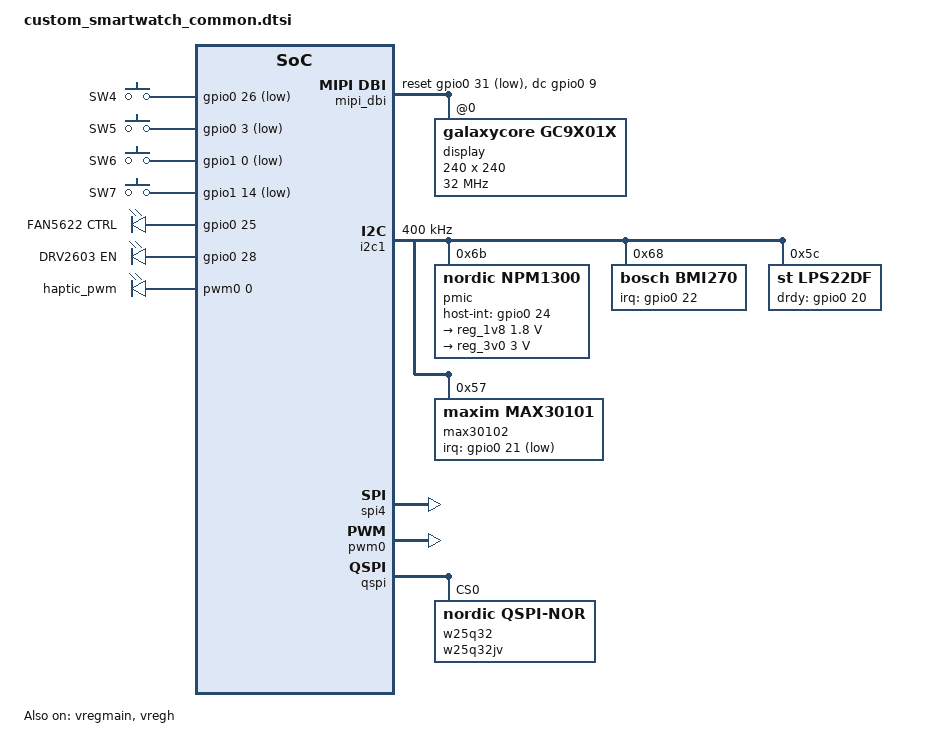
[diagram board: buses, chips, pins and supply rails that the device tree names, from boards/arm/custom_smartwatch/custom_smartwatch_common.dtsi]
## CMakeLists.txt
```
cmake_minimum_required(VERSION 3.20.0)
find_package(Zephyr REQUIRED HINTS $ENV{ZEPHYR_BASE})

project(Software)

target_sources(app PRIVATE
  src/activity.c
  src/app_settings.c
  src/backlight.c
  src/ble_media.c
  src/buttons.c
  src/display_ui.c
  src/heart_rate.c
  src/haptics.c
  src/main.c
  src/power.c
  src/power_manager.c
)
```

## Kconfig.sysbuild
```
# SPDX-License-Identifier: Apache-2.0

config SOC_NRF5340_CPUAPP
	bool
	default y if BOARD_CUSTOM_SMARTWATCH_NRF5340_CPUAPP

config PARTITION_MANAGER
	default n if !BOARD_IS_NON_SECURE

config NRF_DEFAULT_IPC_RADIO
	default y

config NETCORE_IPC_RADIO_BT_HCI_IPC
	default y

source "share/sysbuild/Kconfig"
```

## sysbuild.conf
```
SB_CONFIG_PARTITION_MANAGER=n
SB_CONFIG_NETCORE_IPC_RADIO=y
SB_CONFIG_NETCORE_IPC_RADIO_BT_HCI_IPC=y
```

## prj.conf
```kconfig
CONFIG_LOG=y
CONFIG_USE_SEGGER_RTT=y
CONFIG_CONSOLE=y
CONFIG_RTT_CONSOLE=y
CONFIG_LOG_BACKEND_RTT=y
CONFIG_LOG_BACKEND_RTT_MODE_DROP=y
CONFIG_LOG_BACKEND_RTT_MESSAGE_SIZE=256
CONFIG_LOG_BACKEND_UART=n
CONFIG_UART_CONSOLE=n
CONFIG_FLASH=y
CONFIG_FLASH_MAP=y
CONFIG_NORDIC_QSPI_NOR=y
CONFIG_GPIO=y
CONFIG_INPUT=y
CONFIG_INPUT_GPIO_KEYS=y
CONFIG_I2C=y
CONFIG_SPI=y
CONFIG_PWM=y
CONFIG_SENSOR=y
CONFIG_BMI270=y
CONFIG_LPS2XDF=y
CONFIG_MAX30101=y
CONFIG_MAX30101_TRIGGER_GLOBAL_THREAD=y
CONFIG_MFD=y
CONFIG_MFD_NPM13XX=y
CONFIG_NPM13XX_CHARGER=y
CONFIG_REGULATOR=y
CONFIG_DISPLAY=y
CONFIG_MIPI_DBI=y
CONFIG_MIPI_DBI_SPI=y
CONFIG_GC9X01X=y

CONFIG_NVS=y
CONFIG_SETTINGS=y
CONFIG_SETTINGS_NVS=y

CONFIG_BT=y
CONFIG_BT_PERIPHERAL=y
CONFIG_BT_DEVICE_NAME="Smart Watch"
CONFIG_BT_DEVICE_APPEARANCE=960
CONFIG_BT_MAX_CONN=1
CONFIG_BT_MAX_PAIRED=4
CONFIG_BT_SMP=y
CONFIG_BT_SETTINGS=y
CONFIG_BT_PRIVACY=y
CONFIG_BT_AUTO_PHY_UPDATE=n
CONFIG_BT_GATT_AUTO_SEC_REQ=n
CONFIG_BT_ATT_TX_COUNT=5
CONFIG_BT_TX_PROCESSOR_STACK_SIZE=1024
CONFIG_BT_RX_STACK_SIZE=3072
CONFIG_BT_CONN_CTX=y

CONFIG_BT_BAS=y
CONFIG_BT_DIS=y
CONFIG_BT_DIS_MANUF_NAME=y
CONFIG_BT_DIS_MANUF_NAME_STR="Custom"
CONFIG_BT_DIS_PNP=y
CONFIG_BT_DIS_PNP_VID_SRC=2
CONFIG_BT_DIS_PNP_VID=0x1915
CONFIG_BT_DIS_PNP_PID=0x0001
CONFIG_BT_DIS_PNP_VER=0x0100

CONFIG_BT_HIDS=y
CONFIG_BT_HIDS_INPUT_REP_MAX=1
CONFIG_BT_HIDS_OUTPUT_REP_MAX=0
CONFIG_BT_HIDS_FEATURE_REP_MAX=0
CONFIG_BT_HIDS_ATTR_MAX=24
CONFIG_BT_HIDS_MAX_CLIENT_COUNT=1
CONFIG_BT_HIDS_DEFAULT_PERM_RW_ENCRYPT=y
CONFIG_BT_GATT_UUID16_POOL_SIZE=40
CONFIG_BT_GATT_CHRC_POOL_SIZE=20

CONFIG_MAIN_STACK_SIZE=2048
CONFIG_SYSTEM_WORKQUEUE_STACK_SIZE=2048
CONFIG_USE_DT_CODE_PARTITION=y
```

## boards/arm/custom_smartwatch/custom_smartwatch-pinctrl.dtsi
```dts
/*
 * SPDX-License-Identifier: Apache-2.0
 */

&pinctrl {
	i2c1_default: i2c1_default {
		group1 {
			psels = <NRF_PSEL(TWIM_SCL, 1, 3)>,
				<NRF_PSEL(TWIM_SDA, 1, 2)>;
		};
	};

	i2c1_sleep: i2c1_sleep {
		group1 {
			psels = <NRF_PSEL(TWIM_SCL, 1, 3)>,
				<NRF_PSEL(TWIM_SDA, 1, 2)>;
			low-power-enable;
		};
	};

	spi4_default: spi4_default {
		group1 {
			psels = <NRF_PSEL(SPIM_SCK, 0, 11)>,
				<NRF_PSEL(SPIM_MOSI, 0, 10)>;
		};
	};

	spi4_sleep: spi4_sleep {
		group1 {
			psels = <NRF_PSEL(SPIM_SCK, 0, 11)>,
				<NRF_PSEL(SPIM_MOSI, 0, 10)>;
			low-power-enable;
		};
	};

	pwm0_default: pwm0_default {
		group1 {
			psels = <NRF_PSEL(PWM_OUT0, 0, 29)>;
		};
	};

	pwm0_sleep: pwm0_sleep {
		group1 {
			psels = <NRF_PSEL(PWM_OUT0, 0, 29)>;
			low-power-enable;
		};
	};

	qspi_default: qspi_default {
		group1 {
			psels = <NRF_PSEL(QSPI_SCK, 0, 17)>,
				<NRF_PSEL(QSPI_IO0, 0, 13)>,
				<NRF_PSEL(QSPI_IO1, 0, 14)>,
				<NRF_PSEL(QSPI_IO2, 0, 15)>,
				<NRF_PSEL(QSPI_IO3, 0, 16)>,
				<NRF_PSEL(QSPI_CSN, 0, 18)>;
			nordic,drive-mode = <NRF_DRIVE_H0H1>;
		};
	};

	qspi_sleep: qspi_sleep {
		group1 {
			psels = <NRF_PSEL(QSPI_SCK, 0, 17)>,
				<NRF_PSEL(QSPI_IO0, 0, 13)>,
				<NRF_PSEL(QSPI_IO1, 0, 14)>,
				<NRF_PSEL(QSPI_IO2, 0, 15)>,
				<NRF_PSEL(QSPI_IO3, 0, 16)>;
			low-power-enable;
		};

		group2 {
			psels = <NRF_PSEL(QSPI_CSN, 0, 18)>;
			low-power-enable;
			bias-pull-up;
		};
	};
};
```

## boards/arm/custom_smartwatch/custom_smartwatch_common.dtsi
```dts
/*
 * SPDX-License-Identifier: Apache-2.0
 */

#include <zephyr/dt-bindings/gpio/gpio.h>
#include <zephyr/dt-bindings/i2c/i2c.h>
#include <zephyr/dt-bindings/input/input-event-codes.h>
#include <zephyr/dt-bindings/display/panel.h>
#include <zephyr/dt-bindings/pwm/pwm.h>

#include "custom_smartwatch-pinctrl.dtsi"

/ {
	chosen {
		zephyr,bt-hci = &bt_hci_ipc0;
		zephyr,display = &display;
	};

	buttons {
		compatible = "gpio-keys";

		button0: button_0 {
			gpios = <&gpio0 26 (GPIO_PULL_UP | GPIO_ACTIVE_LOW)>;
			label = "SW4";
			zephyr,code = <INPUT_KEY_0>;
		};

		button1: button_1 {
			gpios = <&gpio0 3 (GPIO_PULL_UP | GPIO_ACTIVE_LOW)>;
			label = "SW5";
			zephyr,code = <INPUT_KEY_1>;
		};

		button2: button_2 {
			gpios = <&gpio1 0 (GPIO_PULL_UP | GPIO_ACTIVE_LOW)>;
			label = "SW6";
			zephyr,code = <INPUT_KEY_2>;
		};

		button3: button_3 {
			gpios = <&gpio1 14 (GPIO_PULL_UP | GPIO_ACTIVE_LOW)>;
			label = "SW7";
			zephyr,code = <INPUT_KEY_3>;
		};
	};

	backlight {
		compatible = "gpio-leds";

		display_backlight: display_backlight {
			gpios = <&gpio0 25 GPIO_ACTIVE_HIGH>;
			label = "FAN5622 CTRL";
		};
	};

	haptic_enable {
		compatible = "gpio-leds";

		haptic_en: haptic_en {
			gpios = <&gpio0 28 GPIO_ACTIVE_HIGH>;
			label = "DRV2603 EN";
		};
	};

	haptic {
		compatible = "pwm-leds";

		haptic_pwm: haptic_pwm {
			pwms = <&pwm0 0 PWM_MSEC(1) PWM_POLARITY_NORMAL>;
		};
	};

	aliases {
		i2c-0 = &i2c1;
		display-backlight = &display_backlight;
		haptic-en = &haptic_en;
		pwm-led0 = &haptic_pwm;
		sw0 = &button0;
		sw1 = &button1;
		sw2 = &button2;
		sw3 = &button3;
	};
};

&vregmain {
	status = "okay";
	regulator-initial-mode = <NRF5X_REG_MODE_DCDC>;
};

&vregradio {
	regulator-initial-mode = <NRF5X_REG_MODE_DCDC>;
};

&vregh {
	status = "okay";
};

&gpio0 {
	status = "okay";
};

&gpio1 {
	status = "okay";
};

&gpiote {
	status = "okay";
};

&i2c1 {
	compatible = "nordic,nrf-twim";
	status = "okay";
	clock-frequency = <I2C_BITRATE_FAST>;
	pinctrl-0 = <&i2c1_default>;
	pinctrl-1 = <&i2c1_sleep>;
	pinctrl-names = "default", "sleep";

	pmic: npm1300@6b {
		compatible = "nordic,npm1300";
		reg = <0x6b>;
		host-int-gpios = <&gpio0 24 GPIO_ACTIVE_HIGH>;
		pmic-int-pin = <1>;
		status = "okay";

		regulators {
			compatible = "nordic,npm1300-regulator";
			status = "okay";

			reg_1v8: BUCK1 {
				regulator-min-microvolt = <1800000>;
				regulator-max-microvolt = <1800000>;
			};

			reg_3v0: BUCK2 {
				regulator-min-microvolt = <3000000>;
				regulator-max-microvolt = <3000000>;
			};
		};

		pmic_charger: charger {
			compatible = "nordic,npm1300-charger";
			status = "okay";
			term-microvolt = <4200000>;
			current-microamp = <200000>;
			dischg-limit-microamp = <1000000>;
			vbus-limit-microamp = <500000>;
			thermistor-ohms = <0>;
			thermistor-beta = <0>;
			charging-enable;
		};
	};

	bmi270: bmi270@68 {
		compatible = "bosch,bmi270";
		reg = <0x68>;
		irq-gpios = <&gpio0 22 GPIO_ACTIVE_HIGH>;
		status = "okay";
	};

	lps22df: lps22df@5c {
		compatible = "st,lps22df";
		reg = <0x5c>;
		drdy-gpios = <&gpio0 20 GPIO_ACTIVE_HIGH>;
		status = "okay";
	};

	max30102: max30102@57 {
		compatible = "maxim,max30101";
		reg = <0x57>;
		irq-gpios = <&gpio0 21 (GPIO_PULL_UP | GPIO_ACTIVE_LOW)>;
		acq-mode = "spo2";
		smp-ave = <4>;
		adc-rge = <8192>;
		smp-sr = <50>;
		led-pw = <411>;
		led-pa = [24 24 00];
		fifo-rollover-en;
		status = "okay";
	};
};

&spi4 {
	compatible = "nordic,nrf-spim";
	status = "okay";
	cs-gpios = <&gpio0 12 GPIO_ACTIVE_LOW>;
	pinctrl-0 = <&spi4_default>;
	pinctrl-1 = <&spi4_sleep>;
	pinctrl-names = "default", "sleep";
};

/ {
	mipi_dbi {
		compatible = "zephyr,mipi-dbi-spi";
		status = "okay";
		spi-dev = <&spi4>;
		dc-gpios = <&gpio0 9 GPIO_ACTIVE_HIGH>;
		reset-gpios = <&gpio0 31 GPIO_ACTIVE_LOW>;
		write-only;
		#address-cells = <1>;
		#size-cells = <0>;

		display: gc9a01@0 {
			compatible = "galaxycore,gc9x01x";
			reg = <0>;
			mipi-max-frequency = <DT_FREQ_M(32)>;
			pixel-format = <PANEL_PIXEL_FORMAT_RGB_565>;
			width = <240>;
			height = <240>;
			display-inversion;
			status = "okay";
		};
	};
};

&pwm0 {
	status = "okay";
	pinctrl-0 = <&pwm0_default>;
	pinctrl-1 = <&pwm0_sleep>;
	pinctrl-names = "default", "sleep";
};

&qspi {
	status = "okay";
	pinctrl-0 = <&qspi_default>;
	pinctrl-1 = <&qspi_sleep>;
	pinctrl-names = "default", "sleep";

	w25q32: w25q32jv@0 {
		compatible = "nordic,qspi-nor";
		reg = <0>;
		writeoc = "pp4io";
		readoc = "read4io";
		sck-frequency = <8000000>;
		jedec-id = [ef 40 16];
		size = <33554432>;
		has-dpd;
		t-enter-dpd = <3000>;
		t-exit-dpd = <30000>;
		status = "okay";
	};
};
```

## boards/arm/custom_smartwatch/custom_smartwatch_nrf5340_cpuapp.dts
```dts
/*
 * SPDX-License-Identifier: Apache-2.0
 */

/dts-v1/;

#include <nordic/nrf5340_cpuapp_qkaa.dtsi>
#include "custom_smartwatch_common.dtsi"

/ {
	compatible = "custom,custom-smartwatch-nrf5340-cpuapp";
	model = "Custom Smartwatch NORA-B106 nRF5340 Application MCU";

	chosen {
		zephyr,sram = &sram0_image;
		zephyr,flash = &flash0;
		zephyr,code-partition = &slot0_partition;
		zephyr,sram-secure-partition = &sram0_s;
		zephyr,sram-non-secure-partition = &sram0_ns;
	};
};

/* Include default memory partition configuration file. */
#include <nordic/nrf5340_cpuapp_partition.dtsi>
```

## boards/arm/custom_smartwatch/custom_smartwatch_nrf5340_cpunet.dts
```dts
/*
 * SPDX-License-Identifier: Apache-2.0
 */

/dts-v1/;

#include <nordic/nrf5340_cpunet_qkaa.dtsi>

/ {
	compatible = "custom,custom-smartwatch-nrf5340-cpunet";
	model = "Custom Smartwatch NORA-B106 nRF5340 Network MCU";

	chosen {
		zephyr,bt-hci-ipc = &ipc0;
		zephyr,sram = &sram1;
		zephyr,flash = &flash1;
		zephyr,code-partition = &slot0_partition;
	};

	aliases {
		watchdog0 = &wdt;
	};
};

&gpiote {
	status = "okay";
};

&gpio0 {
	status = "okay";
};

&gpio1 {
	status = "okay";
};

&flash1 {
	partitions {
		compatible = "fixed-partitions";
		#address-cells = <1>;
		#size-cells = <1>;

		boot_partition: partition@0 {
			label = "mcuboot";
			reg = <0x00000000 0xc000>;
		};

		slot0_partition: partition@c000 {
			label = "image-0";
			reg = <0x0000c000 0x17000>;
		};

		slot1_partition: partition@23000 {
			label = "image-1";
			reg = <0x00023000 0x17000>;
		};

		storage_partition: partition@3a000 {
			label = "storage";
			reg = <0x0003a000 0x6000>;
		};
	};
};

#include <nordic/nrf5340_shared_sram_partition.dtsi>
```

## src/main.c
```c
#include <zephyr/kernel.h>
#include <zephyr/device.h>
#include <zephyr/logging/log.h>

#include "activity.h"
#include "app_settings.h"
#include "backlight.h"
#include "ble_media.h"
#include "buttons.h"
#include "display_ui.h"
#include "heart_rate.h"
#include "haptics.h"
#include "power.h"
#include "power_manager.h"

LOG_MODULE_REGISTER(smart_watch, LOG_LEVEL_INF);

#define LOG_DEVICE_READY(node_id, name)                                            \
	do {                                                                       \
		const struct device *const dev = DEVICE_DT_GET(node_id);           \
		LOG_INF("%s: %s", name, device_is_ready(dev) ? "ready" : "not ready"); \
	} while (false)

int main(void)
{
	int err;

	LOG_INF("Custom smartwatch firmware starting");

	LOG_DEVICE_READY(DT_NODELABEL(pmic), "nPM1300");
	LOG_DEVICE_READY(DT_NODELABEL(pmic_charger), "nPM1300 charger");
	LOG_DEVICE_READY(DT_NODELABEL(bmi270), "BMI270");
	LOG_DEVICE_READY(DT_NODELABEL(max30102), "MAX30102");
	LOG_DEVICE_READY(DT_NODELABEL(lps22df), "LPS22DF");
	LOG_DEVICE_READY(DT_NODELABEL(display), "GC9A01");
	LOG_DEVICE_READY(DT_NODELABEL(w25q32), "W25Q32");

	err = backlight_init(false);
	if (err != 0) {
		LOG_ERR("Backlight init failed (%d)", err);
	}

	err = haptics_init();
	if (err != 0) {
		LOG_ERR("Haptics init failed (%d)", err);
	}

	err = app_settings_init();
	if (err != 0) {
		LOG_ERR("User settings init failed (%d)", err);
	}

	err = ble_media_init();
	if (err != 0) {
		LOG_ERR("BLE media init failed (%d)", err);
	}

	err = buttons_init();
	if (err != 0) {
		LOG_ERR("Button service init failed (%d)", err);
	}

	err = activity_init();
	if (err != 0) {
		LOG_ERR("Activity tracking init failed (%d)", err);
	}

	err = heart_rate_init();
	if (err != 0) {
		LOG_ERR("Heart-rate service init failed (%d)", err);
	}

	err = power_init();
	if (err != 0) {
		LOG_ERR("Power telemetry init failed (%d)", err);
	}

	err = display_ui_init();
	if (err != 0) {
		LOG_ERR("Display UI init failed (%d)", err);
	}

	err = power_manager_init();
	if (err != 0) {
		LOG_ERR("Power manager init failed (%d)", err);
	}

	return 0;
}
```

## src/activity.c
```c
/*
 * SPDX-License-Identifier: Apache-2.0
 */

#include "activity.h"

#include <errno.h>
#include <stdbool.h>
#include <stdint.h>

#include <zephyr/device.h>
#include <zephyr/drivers/sensor.h>
#include <zephyr/kernel.h>
#include <zephyr/logging/log.h>
#include <zephyr/settings/settings.h>

#include "display_ui.h"

LOG_MODULE_REGISTER(activity, LOG_LEVEL_INF);

#define BMI270_NODE DT_NODELABEL(bmi270)

#define ACTIVITY_SETTINGS_KEY "activity/steps"
#define ACTIVITY_SETTINGS_SUBTREE "activity"
#define ACTIVITY_SETTINGS_STEPS_NAME "steps"

#define ACTIVITY_SAMPLE_PERIOD_MS 100
#define ACTIVITY_ACCEL_ODR_HZ 25
#define ACTIVITY_ACCEL_FULL_SCALE_G 4
#define STEP_HIGH_DELTA_MG 180
#define STEP_LOW_DELTA_MG 60
#define STEP_REFRACTORY_MS 300
#define STEP_SAVE_DELTA 16
#define STEP_SAVE_DELAY_MS 30000

static const struct device *const bmi270 = DEVICE_DT_GET(BMI270_NODE);

static uint32_t step_count;
static uint32_t saved_step_count;
static uint32_t last_step_ms;
static uint32_t sensor_error_count;
static int32_t baseline_mg = -1;
static bool above_step_threshold;
static bool activity_ready;

static uint32_t isqrt64(uint64_t value)
{
	uint64_t bit = UINT64_C(1) << 62;
	uint64_t result = 0U;

	while (bit > value) {
		bit >>= 2;
	}

	while (bit != 0U) {
		if (value >= result + bit) {
			value -= result + bit;
			result = (result >> 1) + bit;
		} else {
			result >>= 1;
		}

		bit >>= 2;
	}

	return (uint32_t)result;
}

static int32_t accel_magnitude_mg(const struct sensor_value accel[3])
{
	const int32_t x_mg = sensor_ms2_to_mg(&accel[0]);
	const int32_t y_mg = sensor_ms2_to_mg(&accel[1]);
	const int32_t z_mg = sensor_ms2_to_mg(&accel[2]);
	const int64_t x_sq = (int64_t)x_mg * x_mg;
	const int64_t y_sq = (int64_t)y_mg * y_mg;
	const int64_t z_sq = (int64_t)z_mg * z_mg;

	return (int32_t)isqrt64((uint64_t)(x_sq + y_sq + z_sq));
}

static void activity_schedule_save(bool soon);

static void activity_save_work_handler(struct k_work *work)
{
	int err;

	ARG_UNUSED(work);

	if (!IS_ENABLED(CONFIG_SETTINGS)) {
		return;
	}

	if (saved_step_count == step_count) {
		return;
	}

	err = settings_save_one(ACTIVITY_SETTINGS_KEY, &step_count, sizeof(step_count));
	if (err != 0) {
		LOG_WRN("Step count save failed (%d)", err);
		return;
	}

	saved_step_count = step_count;
	LOG_INF("Step count saved: %u", step_count);
}

K_WORK_DELAYABLE_DEFINE(activity_save_work, activity_save_work_handler);

static void activity_process_sample(const struct sensor_value accel[3])
{
	const int32_t mag_mg = accel_magnitude_mg(accel);
	const uint32_t now_ms = k_uptime_get_32();
	int32_t delta_mg;

	if (baseline_mg < 0) {
		baseline_mg = mag_mg;
		return;
	}

	delta_mg = mag_mg - baseline_mg;
	baseline_mg = ((baseline_mg * 31) + mag_mg) / 32;

	if (!above_step_threshold) {
		const uint32_t elapsed_ms = now_ms - last_step_ms;

		if ((delta_mg > STEP_HIGH_DELTA_MG) &&
		    (elapsed_ms >= STEP_REFRACTORY_MS)) {
			step_count++;
			last_step_ms = now_ms;
			above_step_threshold = true;
			LOG_INF("Step count: %u", step_count);
			display_ui_request_update();
			activity_schedule_save((step_count - saved_step_count) >= STEP_SAVE_DELTA);
		}
	} else if (delta_mg < STEP_LOW_DELTA_MG) {
		above_step_threshold = false;
	}
}

static void activity_sample_work_handler(struct k_work *work)
{
	struct sensor_value accel[3];
	int err;

	ARG_UNUSED(work);

	if (!activity_ready) {
		return;
	}

	err = sensor_sample_fetch_chan(bmi270, SENSOR_CHAN_ACCEL_XYZ);
	if (err != 0) {
		sensor_error_count++;
		if ((sensor_error_count % 32U) == 1U) {
			LOG_WRN("BMI270 accel fetch failed (%d)", err);
		}
		goto reschedule;
	}

	err = sensor_channel_get(bmi270, SENSOR_CHAN_ACCEL_XYZ, accel);
	if (err != 0) {
		sensor_error_count++;
		if ((sensor_error_count % 32U) == 1U) {
			LOG_WRN("BMI270 accel read failed (%d)", err);
		}
		goto reschedule;
	}

	sensor_error_count = 0U;
	activity_process_sample(accel);

reschedule:
	(void)k_work_reschedule(k_work_delayable_from_work(work),
				K_MSEC(ACTIVITY_SAMPLE_PERIOD_MS));
}

K_WORK_DELAYABLE_DEFINE(activity_sample_work, activity_sample_work_handler);

static void activity_schedule_save(bool soon)
{
	const k_timeout_t delay = soon ? K_SECONDS(1) : K_MSEC(STEP_SAVE_DELAY_MS);

	if (!IS_ENABLED(CONFIG_SETTINGS)) {
		return;
	}

	(void)k_work_reschedule(&activity_save_work, delay);
}

static int activity_settings_set(const char *name, size_t len,
				 settings_read_cb read_cb, void *cb_arg)
{
	const char *next;
	uint32_t loaded_steps;
	ssize_t read_len;

	if (!settings_name_steq(name, ACTIVITY_SETTINGS_STEPS_NAME, &next) || next != NULL) {
		return -ENOENT;
	}

	if (len != sizeof(loaded_steps)) {
		return -EINVAL;
	}

	read_len = read_cb(cb_arg, &loaded_steps, sizeof(loaded_steps));
	if (read_len < 0) {
		return (int)read_len;
	}

	if (read_len != sizeof(loaded_steps)) {
		return -EINVAL;
	}

	step_count = loaded_steps;
	saved_step_count = loaded_steps;
	LOG_INF("Step count restored: %u", step_count);
	return 0;
}

SETTINGS_STATIC_HANDLER_DEFINE(activity, ACTIVITY_SETTINGS_SUBTREE, NULL,
			       activity_settings_set, NULL, NULL);

int activity_init(void)
{
	struct sensor_value odr = {
		.val1 = ACTIVITY_ACCEL_ODR_HZ,
		.val2 = 0,
	};
	struct sensor_value full_scale;
	int err;

	if (!device_is_ready(bmi270)) {
		LOG_ERR("BMI270 is not ready for activity tracking");
		return -ENODEV;
	}

	if (IS_ENABLED(CONFIG_SETTINGS)) {
		err = settings_load_subtree(ACTIVITY_SETTINGS_SUBTREE);
		if (err != 0) {
			LOG_WRN("Activity settings load failed (%d)", err);
		}
	}

	err = sensor_attr_set(bmi270, SENSOR_CHAN_ACCEL_XYZ,
			      SENSOR_ATTR_SAMPLING_FREQUENCY, &odr);
	if (err != 0) {
		LOG_WRN("BMI270 accel ODR set failed (%d)", err);
	}

	sensor_g_to_ms2(ACTIVITY_ACCEL_FULL_SCALE_G, &full_scale);
	err = sensor_attr_set(bmi270, SENSOR_CHAN_ACCEL_XYZ,
			      SENSOR_ATTR_FULL_SCALE, &full_scale);
	if (err != 0) {
		LOG_WRN("BMI270 accel full-scale set failed (%d)", err);
	}

	activity_ready = true;
	(void)k_work_schedule(&activity_sample_work, K_NO_WAIT);
	LOG_INF("Activity tracking ready: %u steps", step_count);
	return 0;
}

uint32_t activity_get_steps(void)
{
	return step_count;
}

int activity_reset_steps(void)
{
	step_count = 0U;
	saved_step_count = 0U;
	baseline_mg = -1;
	above_step_threshold = false;
	activity_schedule_save(true);
	display_ui_request_update();
	LOG_INF("Step count reset");
	return 0;
}
```

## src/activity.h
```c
/*
 * SPDX-License-Identifier: Apache-2.0
 */

#ifndef SMARTWATCH_ACTIVITY_H_
#define SMARTWATCH_ACTIVITY_H_

#include <stdint.h>

int activity_init(void);
uint32_t activity_get_steps(void);
int activity_reset_steps(void);

#endif /* SMARTWATCH_ACTIVITY_H_ */
```

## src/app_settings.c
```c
/*
 * SPDX-License-Identifier: Apache-2.0
 */

#include "app_settings.h"

#include <errno.h>
#include <stddef.h>

#include <zephyr/kernel.h>
#include <zephyr/logging/log.h>
#include <zephyr/settings/settings.h>
#include <zephyr/sys/util.h>

LOG_MODULE_REGISTER(app_settings, LOG_LEVEL_INF);

#define APP_SETTINGS_SUBTREE "watch"
#define APP_SETTINGS_RECORD_NAME "user"
#define APP_SETTINGS_KEY "watch/user"
#define APP_SETTINGS_VERSION 1U

#define HAPTIC_INTENSITY_DEFAULT 50U
#define HAPTIC_INTENSITY_MIN 10U
#define HAPTIC_INTENSITY_MAX 100U
#define DISPLAY_TIMEOUT_DEFAULT_S 30U
#define DISPLAY_TIMEOUT_MIN_S 5U
#define DISPLAY_TIMEOUT_MAX_S 300U

struct app_settings_record {
	uint8_t version;
	uint8_t haptics_enabled;
	uint8_t haptic_intensity_percent;
	uint8_t reserved;
	uint16_t display_timeout_s;
};

static struct app_settings_record current_settings = {
	.version = APP_SETTINGS_VERSION,
	.haptics_enabled = 1U,
	.haptic_intensity_percent = HAPTIC_INTENSITY_DEFAULT,
	.reserved = 0U,
	.display_timeout_s = DISPLAY_TIMEOUT_DEFAULT_S,
};
static struct k_spinlock settings_lock;

static void sanitize_settings(struct app_settings_record *settings)
{
	settings->version = APP_SETTINGS_VERSION;
	settings->haptics_enabled = settings->haptics_enabled != 0U ? 1U : 0U;
	settings->reserved = 0U;
	settings->haptic_intensity_percent =
		(uint8_t)CLAMP(settings->haptic_intensity_percent,
			       HAPTIC_INTENSITY_MIN, HAPTIC_INTENSITY_MAX);
	settings->display_timeout_s =
		(uint16_t)CLAMP(settings->display_timeout_s,
				DISPLAY_TIMEOUT_MIN_S, DISPLAY_TIMEOUT_MAX_S);
}

static void store_current_settings(const struct app_settings_record *settings)
{
	k_spinlock_key_t key = k_spin_lock(&settings_lock);

	current_settings = *settings;
	k_spin_unlock(&settings_lock, key);
}

static struct app_settings_record load_current_settings(void)
{
	struct app_settings_record settings;
	k_spinlock_key_t key = k_spin_lock(&settings_lock);

	settings = current_settings;
	k_spin_unlock(&settings_lock, key);

	return settings;
}

static int save_current_settings(void)
{
	struct app_settings_record settings = load_current_settings();

	if (!IS_ENABLED(CONFIG_SETTINGS)) {
		return -ENOTSUP;
	}

	return settings_save_one(APP_SETTINGS_KEY, &settings, sizeof(settings));
}

static int app_settings_set(const char *name, size_t len,
			    settings_read_cb read_cb, void *cb_arg)
{
	const char *next;
	struct app_settings_record loaded;
	ssize_t read_len;

	if (!settings_name_steq(name, APP_SETTINGS_RECORD_NAME, &next) || next != NULL) {
		return -ENOENT;
	}

	if (len != sizeof(loaded)) {
		return -EINVAL;
	}

	read_len = read_cb(cb_arg, &loaded, sizeof(loaded));
	if (read_len < 0) {
		return (int)read_len;
	}

	if (read_len != sizeof(loaded)) {
		return -EINVAL;
	}

	if (loaded.version != APP_SETTINGS_VERSION) {
		return -EINVAL;
	}

	sanitize_settings(&loaded);
	store_current_settings(&loaded);
	LOG_INF("User settings restored");
	return 0;
}

SETTINGS_STATIC_HANDLER_DEFINE(app_settings, APP_SETTINGS_SUBTREE, NULL,
			       app_settings_set, NULL, NULL);

int app_settings_init(void)
{
	int err;

	if (!IS_ENABLED(CONFIG_SETTINGS)) {
		LOG_WRN("Settings subsystem is disabled");
		return -ENOTSUP;
	}

	err = settings_load_subtree(APP_SETTINGS_SUBTREE);
	if (err != 0) {
		LOG_WRN("User settings load failed (%d)", err);
		return err;
	}

	LOG_INF("User settings ready");
	return 0;
}

void app_settings_get(struct app_settings_snapshot *settings)
{
	struct app_settings_record current;

	if (settings == NULL) {
		return;
	}

	current = load_current_settings();
	settings->haptics_enabled = current.haptics_enabled != 0U;
	settings->haptic_intensity_percent = current.haptic_intensity_percent;
	settings->display_timeout_s = current.display_timeout_s;
}

bool app_settings_haptics_enabled(void)
{
	return load_current_settings().haptics_enabled != 0U;
}

uint8_t app_settings_haptic_intensity_percent(void)
{
	return load_current_settings().haptic_intensity_percent;
}

int app_settings_set_haptics(bool enabled, uint8_t intensity_percent)
{
	struct app_settings_record settings = load_current_settings();
	int err;

	settings.haptics_enabled = enabled ? 1U : 0U;
	settings.haptic_intensity_percent = intensity_percent;
	sanitize_settings(&settings);
	store_current_settings(&settings);

	err = save_current_settings();
	if (err != 0) {
		LOG_WRN("User settings save failed (%d)", err);
	}

	return err;
}
```

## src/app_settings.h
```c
/*
 * SPDX-License-Identifier: Apache-2.0
 */

#ifndef SMARTWATCH_APP_SETTINGS_H_
#define SMARTWATCH_APP_SETTINGS_H_

#include <stdbool.h>
#include <stdint.h>

struct app_settings_snapshot {
	bool haptics_enabled;
	uint8_t haptic_intensity_percent;
	uint16_t display_timeout_s;
};

int app_settings_init(void);
void app_settings_get(struct app_settings_snapshot *settings);
bool app_settings_haptics_enabled(void);
uint8_t app_settings_haptic_intensity_percent(void);
int app_settings_set_haptics(bool enabled, uint8_t intensity_percent);

#endif /* SMARTWATCH_APP_SETTINGS_H_ */
```

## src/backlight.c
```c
/*
 * SPDX-License-Identifier: Apache-2.0
 */

#include "backlight.h"

#include <errno.h>

#include <zephyr/device.h>
#include <zephyr/drivers/gpio.h>
#include <zephyr/logging/log.h>

LOG_MODULE_REGISTER(backlight, LOG_LEVEL_INF);

#define DISPLAY_BACKLIGHT_NODE DT_ALIAS(display_backlight)

static const struct gpio_dt_spec display_backlight =
	GPIO_DT_SPEC_GET(DISPLAY_BACKLIGHT_NODE, gpios);
static bool backlight_ready;

int backlight_set(bool enabled)
{
	int err;

	if (!backlight_ready) {
		return -ENODEV;
	}

	err = gpio_pin_set_dt(&display_backlight, enabled ? 1 : 0);
	if (err != 0) {
		LOG_ERR("Backlight GPIO update failed (%d)", err);
	}

	return err;
}

int backlight_init(bool enabled)
{
	int err;

	if (!gpio_is_ready_dt(&display_backlight)) {
		LOG_ERR("Backlight GPIO is not ready");
		return -ENODEV;
	}

	err = gpio_pin_configure_dt(&display_backlight,
				    enabled ? GPIO_OUTPUT_ACTIVE : GPIO_OUTPUT_INACTIVE);
	if (err != 0) {
		LOG_ERR("Backlight GPIO configure failed (%d)", err);
		return err;
	}

	backlight_ready = true;
	LOG_INF("Backlight GPIO ready");
	return 0;
}
```

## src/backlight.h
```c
/*
 * SPDX-License-Identifier: Apache-2.0
 */

#ifndef SMARTWATCH_BACKLIGHT_H_
#define SMARTWATCH_BACKLIGHT_H_

#include <stdbool.h>

int backlight_init(bool enabled);
int backlight_set(bool enabled);

#endif /* SMARTWATCH_BACKLIGHT_H_ */
```

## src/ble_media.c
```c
/*
 * SPDX-License-Identifier: Apache-2.0
 */

#include "ble_media.h"

#include <errno.h>
#include <stddef.h>
#include <stdint.h>

#include <bluetooth/services/hids.h>
#include <zephyr/bluetooth/bluetooth.h>
#include <zephyr/bluetooth/conn.h>
#include <zephyr/bluetooth/uuid.h>
#include <zephyr/logging/log.h>
#include <zephyr/settings/settings.h>
#include <zephyr/sys/byteorder.h>

#include "display_ui.h"

LOG_MODULE_REGISTER(ble_media, LOG_LEVEL_INF);

#define BASE_USB_HID_SPEC_VERSION 0x0101
#define REPORT_ID_CONSUMER_CTRL 1
#define REPORT_IDX_CONSUMER_CTRL 0
#define REPORT_SIZE_CONSUMER_CTRL 2

#define HID_USAGE_PLAY_PAUSE 0x00CD
#define HID_USAGE_NEXT_TRACK 0x00B5
#define HID_USAGE_PREVIOUS_TRACK 0x00B6
#define HID_USAGE_VOLUME_UP 0x00E9
#define HID_USAGE_VOLUME_DOWN 0x00EA
#define HID_USAGE_RELEASE 0x0000

BT_HIDS_DEF(hids_obj, REPORT_SIZE_CONSUMER_CTRL);

static bool ble_ready;
static enum ble_media_status ble_status = BLE_MEDIA_STATUS_DISABLED;

static const struct bt_data ad[] = {
	BT_DATA_BYTES(BT_DATA_FLAGS, (BT_LE_AD_GENERAL | BT_LE_AD_NO_BREDR)),
	BT_DATA_BYTES(BT_DATA_UUID16_ALL,
		      BT_UUID_16_ENCODE(BT_UUID_HIDS_VAL),
		      BT_UUID_16_ENCODE(BT_UUID_BAS_VAL)),
};

static const struct bt_data sd[] = {
	BT_DATA(BT_DATA_NAME_COMPLETE, CONFIG_BT_DEVICE_NAME,
		sizeof(CONFIG_BT_DEVICE_NAME) - 1),
};

static int start_advertising(void)
{
	const int err = bt_le_adv_start(BT_LE_ADV_CONN_FAST_1,
					ad, ARRAY_SIZE(ad),
					sd, ARRAY_SIZE(sd));

	if ((err != 0) && (err != -EALREADY)) {
		LOG_ERR("BLE advertising failed to start (%d)", err);
		return err;
	}

	ble_status = BLE_MEDIA_STATUS_ADVERTISING;
	display_ui_request_update();
	LOG_INF("BLE HID advertising as \"%s\"", CONFIG_BT_DEVICE_NAME);
	return 0;
}

static void connected(struct bt_conn *conn, uint8_t err)
{
	if (err != 0U) {
		LOG_WRN("BLE connection failed (err %u)", err);
		(void)start_advertising();
		return;
	}

	LOG_INF("BLE connected");
	ble_status = BLE_MEDIA_STATUS_CONNECTED;
	display_ui_request_update();

	err = bt_hids_connected(&hids_obj, conn);
	if (err != 0U) {
		LOG_ERR("HIDS connection notification failed (%u)", err);
	}

	const int security_err = bt_conn_set_security(conn, BT_SECURITY_L2);

	if ((security_err != 0) && (security_err != -EALREADY)) {
		LOG_WRN("BLE security request failed (%d)", security_err);
	}
}

static void disconnected(struct bt_conn *conn, uint8_t reason)
{
	const int err = bt_hids_disconnected(&hids_obj, conn);

	if (err != 0) {
		LOG_ERR("HIDS disconnection notification failed (%d)", err);
	}

	LOG_INF("BLE disconnected (reason 0x%02x)", reason);
	(void)start_advertising();
}

static void security_changed(struct bt_conn *conn, bt_security_t level,
			     enum bt_security_err err)
{
	if (err == BT_SECURITY_ERR_SUCCESS) {
		LOG_INF("BLE security level %u", level);
	} else {
		LOG_WRN("BLE security failed at level %u (err %u)", level, err);
	}
}

BT_CONN_CB_DEFINE(conn_callbacks) = {
	.connected = connected,
	.disconnected = disconnected,
	.security_changed = security_changed,
};

static int hids_init(void)
{
	static const uint8_t report_map[] = {
		0x05, 0x0C,                         /* Usage Page (Consumer) */
		0x09, 0x01,                         /* Usage (Consumer Control) */
		0xA1, 0x01,                         /* Collection (Application) */
		0x85, REPORT_ID_CONSUMER_CTRL,      /* Report ID */
		0x15, 0x00,                         /* Logical Minimum (0) */
		0x26, 0xFF, 0x03,                   /* Logical Maximum (0x03ff) */
		0x19, 0x00,                         /* Usage Minimum (0) */
		0x2A, 0xFF, 0x03,                   /* Usage Maximum (0x03ff) */
		0x75, 0x10,                         /* Report Size (16) */
		0x95, 0x01,                         /* Report Count (1) */
		0x81, 0x00,                         /* Input (Data, Array, Absolute) */
		0xC0,                               /* End Collection */
	};

	struct bt_hids_init_param hids_init_param = { 0 };
	struct bt_hids_inp_rep *rep;

	hids_init_param.rep_map.data = report_map;
	hids_init_param.rep_map.size = sizeof(report_map);
	hids_init_param.info.bcd_hid = BASE_USB_HID_SPEC_VERSION;
	hids_init_param.info.b_country_code = 0x00;
	hids_init_param.info.flags = BT_HIDS_REMOTE_WAKE | BT_HIDS_NORMALLY_CONNECTABLE;

	rep = &hids_init_param.inp_rep_group_init.reports[REPORT_IDX_CONSUMER_CTRL];
	rep->id = REPORT_ID_CONSUMER_CTRL;
	rep->size = REPORT_SIZE_CONSUMER_CTRL;
	hids_init_param.inp_rep_group_init.cnt = 1;

	return bt_hids_init(&hids_obj, &hids_init_param);
}

static uint16_t usage_for_command(enum ble_media_command command)
{
	switch (command) {
	case BLE_MEDIA_PLAY_PAUSE:
		return HID_USAGE_PLAY_PAUSE;
	case BLE_MEDIA_NEXT_TRACK:
		return HID_USAGE_NEXT_TRACK;
	case BLE_MEDIA_PREVIOUS_TRACK:
		return HID_USAGE_PREVIOUS_TRACK;
	case BLE_MEDIA_VOLUME_UP:
		return HID_USAGE_VOLUME_UP;
	case BLE_MEDIA_VOLUME_DOWN:
		return HID_USAGE_VOLUME_DOWN;
	default:
		return HID_USAGE_RELEASE;
	}
}

static int send_usage(uint16_t usage)
{
	uint8_t report[REPORT_SIZE_CONSUMER_CTRL];

	sys_put_le16(usage, report);
	return bt_hids_inp_rep_send(&hids_obj, NULL, REPORT_IDX_CONSUMER_CTRL,
				    report, sizeof(report), NULL);
}

int ble_media_send(enum ble_media_command command)
{
	int err;

	if (!ble_ready) {
		return -EAGAIN;
	}

	err = send_usage(usage_for_command(command));
	if (err != 0) {
		LOG_WRN("BLE media press failed (%d)", err);
		return err;
	}

	err = send_usage(HID_USAGE_RELEASE);
	if (err != 0) {
		LOG_WRN("BLE media release failed (%d)", err);
	}

	return err;
}

enum ble_media_status ble_media_get_status(void)
{
	return ble_status;
}

int ble_media_init(void)
{
	int err = hids_init();

	if (err != 0) {
		LOG_ERR("HIDS init failed (%d)", err);
		return err;
	}

	err = bt_enable(NULL);
	if (err != 0) {
		LOG_ERR("Bluetooth init failed (%d)", err);
		return err;
	}

	LOG_INF("Bluetooth initialized");
	ble_status = BLE_MEDIA_STATUS_IDLE;

	if (IS_ENABLED(CONFIG_SETTINGS)) {
		err = settings_load();
		if (err != 0) {
			LOG_WRN("Settings load failed (%d)", err);
		}
	}

	ble_ready = true;
	return start_advertising();
}
```

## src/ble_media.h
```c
/*
 * SPDX-License-Identifier: Apache-2.0
 */

#ifndef SMARTWATCH_BLE_MEDIA_H_
#define SMARTWATCH_BLE_MEDIA_H_

enum ble_media_command {
	BLE_MEDIA_PLAY_PAUSE,
	BLE_MEDIA_NEXT_TRACK,
	BLE_MEDIA_PREVIOUS_TRACK,
	BLE_MEDIA_VOLUME_UP,
	BLE_MEDIA_VOLUME_DOWN,
};

enum ble_media_status {
	BLE_MEDIA_STATUS_DISABLED,
	BLE_MEDIA_STATUS_IDLE,
	BLE_MEDIA_STATUS_ADVERTISING,
	BLE_MEDIA_STATUS_CONNECTED,
};

int ble_media_init(void);
int ble_media_send(enum ble_media_command command);
enum ble_media_status ble_media_get_status(void);

#endif /* SMARTWATCH_BLE_MEDIA_H_ */
```

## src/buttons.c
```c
/*
 * SPDX-License-Identifier: Apache-2.0
 */

#include "buttons.h"

#include <stdint.h>

#include <zephyr/dt-bindings/input/input-event-codes.h>
#include <zephyr/input/input.h>
#include <zephyr/kernel.h>
#include <zephyr/logging/log.h>

#include "app_settings.h"
#include "ble_media.h"
#include "heart_rate.h"
#include "haptics.h"
#include "power_manager.h"

LOG_MODULE_REGISTER(buttons, LOG_LEVEL_INF);

#define BUTTON_HAPTIC_DURATION_MS 30

enum button_action {
	BUTTON_ACTION_PLAY_PAUSE,
	BUTTON_ACTION_NEXT_TRACK,
	BUTTON_ACTION_PREVIOUS_TRACK,
	BUTTON_ACTION_HEART_RATE,
};

K_MSGQ_DEFINE(button_msgq, sizeof(enum button_action), 4, 1);

static bool action_from_input_code(uint16_t code, enum button_action *action)
{
	switch (code) {
	case INPUT_KEY_0:
		*action = BUTTON_ACTION_PLAY_PAUSE;
		return true;
	case INPUT_KEY_1:
		*action = BUTTON_ACTION_NEXT_TRACK;
		return true;
	case INPUT_KEY_2:
		*action = BUTTON_ACTION_PREVIOUS_TRACK;
		return true;
	case INPUT_KEY_3:
		*action = BUTTON_ACTION_HEART_RATE;
		return true;
	default:
		return false;
	}
}

static void button_work_handler(struct k_work *work)
{
	ARG_UNUSED(work);

	enum button_action action;

	while (k_msgq_get(&button_msgq, &action, K_NO_WAIT) == 0) {
		power_manager_notify_user_activity();

		if (app_settings_haptics_enabled()) {
			(void)haptics_pulse(BUTTON_HAPTIC_DURATION_MS,
					    app_settings_haptic_intensity_percent());
		}

		switch (action) {
		case BUTTON_ACTION_PLAY_PAUSE:
			(void)ble_media_send(BLE_MEDIA_PLAY_PAUSE);
			break;
		case BUTTON_ACTION_NEXT_TRACK:
			(void)ble_media_send(BLE_MEDIA_NEXT_TRACK);
			break;
		case BUTTON_ACTION_PREVIOUS_TRACK:
			(void)ble_media_send(BLE_MEDIA_PREVIOUS_TRACK);
			break;
		case BUTTON_ACTION_HEART_RATE:
			if (heart_rate_start_measurement() != 0) {
				LOG_WRN("Heart-rate measurement could not start");
			}
			break;
		default:
			break;
		}
	}
}

K_WORK_DEFINE(button_work, button_work_handler);

static void button_input_cb(struct input_event *evt, void *user_data)
{
	ARG_UNUSED(user_data);

	enum button_action action;

	if ((evt->sync == 0U) || (evt->type != INPUT_EV_KEY) || (evt->value == 0)) {
		return;
	}

	if (!action_from_input_code(evt->code, &action)) {
		return;
	}

	if (k_msgq_put(&button_msgq, &action, K_NO_WAIT) == 0) {
		(void)k_work_submit(&button_work);
	}
}

INPUT_CALLBACK_DEFINE(NULL, button_input_cb, NULL);

int buttons_init(void)
{
	LOG_INF("Button service ready");
	return 0;
}
```

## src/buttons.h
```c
/*
 * SPDX-License-Identifier: Apache-2.0
 */

#ifndef SMARTWATCH_BUTTONS_H_
#define SMARTWATCH_BUTTONS_H_

int buttons_init(void);

#endif /* SMARTWATCH_BUTTONS_H_ */
```

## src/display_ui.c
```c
/*
 * SPDX-License-Identifier: Apache-2.0
 */

#include "display_ui.h"

#include <errno.h>
#include <stdbool.h>
#include <stddef.h>
#include <stdint.h>

#include <zephyr/device.h>
#include <zephyr/drivers/display.h>
#include <zephyr/kernel.h>
#include <zephyr/logging/log.h>

#include "activity.h"
#include "backlight.h"
#include "ble_media.h"
#include "heart_rate.h"
#include "power.h"

LOG_MODULE_REGISTER(display_ui, LOG_LEVEL_INF);

#define DISPLAY_NODE DT_CHOSEN(zephyr_display)

#define UI_WIDTH 240
#define UI_HEIGHT 240
#define UI_CENTER_X 119
#define UI_CENTER_Y 119
#define UI_RADIUS 118
#define UI_RING_RADIUS 116
#define UI_FONT_WIDTH 5
#define UI_FONT_HEIGHT 7

#define RGB565(r, g, b) ((((r) & 0xF8) << 8) | (((g) & 0xFC) << 3) | ((b) >> 3))

static const struct device *const display = DEVICE_DT_GET(DISPLAY_NODE);
static uint16_t framebuffer[UI_WIDTH * UI_HEIGHT];
static bool display_ui_ready;
static bool display_ui_awake;

static void glyph_rows(char c, uint8_t rows[UI_FONT_HEIGHT])
{
	static const uint8_t blank[UI_FONT_HEIGHT] = { 0, 0, 0, 0, 0, 0, 0 };
	static const uint8_t unknown[UI_FONT_HEIGHT] = { 0x1f, 0x11, 0x15, 0x15, 0x11, 0x1f, 0 };
	const uint8_t *glyph = unknown;

	switch (c) {
	case ' ':
		glyph = blank;
		break;
	case '-': {
		static const uint8_t g[UI_FONT_HEIGHT] = { 0, 0, 0, 0x1f, 0, 0, 0 };
		glyph = g;
		break;
	}
	case '%': {
		static const uint8_t g[UI_FONT_HEIGHT] = { 0x19, 0x19, 0x02, 0x04, 0x08, 0x13, 0x13 };
		glyph = g;
		break;
	}
	case '0': {
		static const uint8_t g[UI_FONT_HEIGHT] = { 0x0e, 0x11, 0x13, 0x15, 0x19, 0x11, 0x0e };
		glyph = g;
		break;
	}
	case '1': {
		static const uint8_t g[UI_FONT_HEIGHT] = { 0x04, 0x0c, 0x04, 0x04, 0x04, 0x04, 0x0e };
		glyph = g;
		break;
	}
	case '2': {
		static const uint8_t g[UI_FONT_HEIGHT] = { 0x0e, 0x11, 0x01, 0x02, 0x04, 0x08, 0x1f };
		glyph = g;
		break;
	}
	case '3': {
		static const uint8_t g[UI_FONT_HEIGHT] = { 0x1e, 0x01, 0x01, 0x0e, 0x01, 0x01, 0x1e };
		glyph = g;
		break;
	}
	case '4': {
		static const uint8_t g[UI_FONT_HEIGHT] = { 0x02, 0x06, 0x0a, 0x12, 0x1f, 0x02, 0x02 };
		glyph = g;
		break;
	}
	case '5': {
		static const uint8_t g[UI_FONT_HEIGHT] = { 0x1f, 0x10, 0x1e, 0x01, 0x01, 0x11, 0x0e };
		glyph = g;
		break;
	}
	case '6': {
		static const uint8_t g[UI_FONT_HEIGHT] = { 0x06, 0x08, 0x10, 0x1e, 0x11, 0x11, 0x0e };
		glyph = g;
		break;
	}
	case '7': {
		static const uint8_t g[UI_FONT_HEIGHT] = { 0x1f, 0x01, 0x02, 0x04, 0x08, 0x08, 0x08 };
		glyph = g;
		break;
	}
	case '8': {
		static const uint8_t g[UI_FONT_HEIGHT] = { 0x0e, 0x11, 0x11, 0x0e, 0x11, 0x11, 0x0e };
		glyph = g;
		break;
	}
	case '9': {
		static const uint8_t g[UI_FONT_HEIGHT] = { 0x0e, 0x11, 0x11, 0x0f, 0x01, 0x02, 0x0c };
		glyph = g;
		break;
	}
	case 'A': {
		static const uint8_t g[UI_FONT_HEIGHT] = { 0x0e, 0x11, 0x11, 0x1f, 0x11, 0x11, 0x11 };
		glyph = g;
		break;
	}
	case 'B': {
		static const uint8_t g[UI_FONT_HEIGHT] = { 0x1e, 0x11, 0x11, 0x1e, 0x11, 0x11, 0x1e };
		glyph = g;
		break;
	}
	case 'C': {
		static const uint8_t g[UI_FONT_HEIGHT] = { 0x0e, 0x11, 0x10, 0x10, 0x10, 0x11, 0x0e };
		glyph = g;
		break;
	}
	case 'D': {
		static const uint8_t g[UI_FONT_HEIGHT] = { 0x1e, 0x11, 0x11, 0x11, 0x11, 0x11, 0x1e };
		glyph = g;
		break;
	}
	case 'E': {
		static const uint8_t g[UI_FONT_HEIGHT] = { 0x1f, 0x10, 0x10, 0x1e, 0x10, 0x10, 0x1f };
		glyph = g;
		break;
	}
	case 'F': {
		static const uint8_t g[UI_FONT_HEIGHT] = { 0x1f, 0x10, 0x10, 0x1e, 0x10, 0x10, 0x10 };
		glyph = g;
		break;
	}
	case 'G': {
		static const uint8_t g[UI_FONT_HEIGHT] = { 0x0e, 0x11, 0x10, 0x17, 0x11, 0x11, 0x0e };
		glyph = g;
		break;
	}
	case 'H': {
		static const uint8_t g[UI_FONT_HEIGHT] = { 0x11, 0x11, 0x11, 0x1f, 0x11, 0x11, 0x11 };
		glyph = g;
		break;
	}
	case 'I': {
		static const uint8_t g[UI_FONT_HEIGHT] = { 0x0e, 0x04, 0x04, 0x04, 0x04, 0x04, 0x0e };
		glyph = g;
		break;
	}
	case 'K': {
		static const uint8_t g[UI_FONT_HEIGHT] = { 0x11, 0x12, 0x14, 0x18, 0x14, 0x12, 0x11 };
		glyph = g;
		break;
	}
	case 'L': {
		static const uint8_t g[UI_FONT_HEIGHT] = { 0x10, 0x10, 0x10, 0x10, 0x10, 0x10, 0x1f };
		glyph = g;
		break;
	}
	case 'M': {
		static const uint8_t g[UI_FONT_HEIGHT] = { 0x11, 0x1b, 0x15, 0x15, 0x11, 0x11, 0x11 };
		glyph = g;
		break;
	}
	case 'N': {
		static const uint8_t g[UI_FONT_HEIGHT] = { 0x11, 0x19, 0x15, 0x13, 0x11, 0x11, 0x11 };
		glyph = g;
		break;
	}
	case 'O': {
		static const uint8_t g[UI_FONT_HEIGHT] = { 0x0e, 0x11, 0x11, 0x11, 0x11, 0x11, 0x0e };
		glyph = g;
		break;
	}
	case 'P': {
		static const uint8_t g[UI_FONT_HEIGHT] = { 0x1e, 0x11, 0x11, 0x1e, 0x10, 0x10, 0x10 };
		glyph = g;
		break;
	}
	case 'R': {
		static const uint8_t g[UI_FONT_HEIGHT] = { 0x1e, 0x11, 0x11, 0x1e, 0x14, 0x12, 0x11 };
		glyph = g;
		break;
	}
	case 'S': {
		static const uint8_t g[UI_FONT_HEIGHT] = { 0x0f, 0x10, 0x10, 0x0e, 0x01, 0x01, 0x1e };
		glyph = g;
		break;
	}
	case 'T': {
		static const uint8_t g[UI_FONT_HEIGHT] = { 0x1f, 0x04, 0x04, 0x04, 0x04, 0x04, 0x04 };
		glyph = g;
		break;
	}
	case 'U': {
		static const uint8_t g[UI_FONT_HEIGHT] = { 0x11, 0x11, 0x11, 0x11, 0x11, 0x11, 0x0e };
		glyph = g;
		break;
	}
	case 'V': {
		static const uint8_t g[UI_FONT_HEIGHT] = { 0x11, 0x11, 0x11, 0x11, 0x0a, 0x0a, 0x04 };
		glyph = g;
		break;
	}
	case 'W': {
		static const uint8_t g[UI_FONT_HEIGHT] = { 0x11, 0x11, 0x11, 0x15, 0x15, 0x15, 0x0a };
		glyph = g;
		break;
	}
	case 'Y': {
		static const uint8_t g[UI_FONT_HEIGHT] = { 0x11, 0x11, 0x0a, 0x04, 0x04, 0x04, 0x04 };
		glyph = g;
		break;
	}
	default:
		break;
	}

	for (size_t i = 0; i < UI_FONT_HEIGHT; i++) {
		rows[i] = glyph[i];
	}
}

static void draw_pixel(int16_t x, int16_t y, uint16_t color)
{
	if ((x < 0) || (x >= UI_WIDTH) || (y < 0) || (y >= UI_HEIGHT)) {
		return;
	}

	framebuffer[(y * UI_WIDTH) + x] = color;
}

static void fill_rect(int16_t x, int16_t y, int16_t width, int16_t height, uint16_t color)
{
	for (int16_t row = 0; row < height; row++) {
		for (int16_t col = 0; col < width; col++) {
			draw_pixel(x + col, y + row, color);
		}
	}
}

static void draw_char(int16_t x, int16_t y, char c, uint8_t scale, uint16_t color)
{
	uint8_t rows[UI_FONT_HEIGHT];

	glyph_rows(c, rows);

	for (uint8_t row = 0; row < UI_FONT_HEIGHT; row++) {
		for (uint8_t col = 0; col < UI_FONT_WIDTH; col++) {
			if ((rows[row] & BIT(UI_FONT_WIDTH - 1 - col)) == 0U) {
				continue;
			}

			fill_rect(x + (col * scale), y + (row * scale), scale, scale, color);
		}
	}
}

static void draw_text(int16_t x, int16_t y, const char *text, uint8_t scale, uint16_t color)
{
	while (*text != '\0') {
		draw_char(x, y, *text, scale, color);
		x += (UI_FONT_WIDTH + 1) * scale;
		text++;
	}
}

static size_t append_u32(char *dst, size_t dst_len, size_t pos, uint32_t value)
{
	char reverse[10];
	size_t count = 0U;

	do {
		reverse[count++] = (char)('0' + (value % 10U));
		value /= 10U;
	} while ((value != 0U) && (count < sizeof(reverse)));

	while ((count > 0U) && (pos + 1U < dst_len)) {
		dst[pos++] = reverse[--count];
	}

	if (dst_len > 0U) {
		dst[pos] = '\0';
	}

	return pos;
}

static size_t append_text(char *dst, size_t dst_len, size_t pos, const char *text)
{
	while ((*text != '\0') && (pos + 1U < dst_len)) {
		dst[pos++] = *text++;
	}

	if (dst_len > 0U) {
		dst[pos] = '\0';
	}

	return pos;
}

static const char *ble_status_text(void)
{
	switch (ble_media_get_status()) {
	case BLE_MEDIA_STATUS_ADVERTISING:
		return "ADVERTISING";
	case BLE_MEDIA_STATUS_CONNECTED:
		return "CONNECTED";
	case BLE_MEDIA_STATUS_IDLE:
		return "READY";
	case BLE_MEDIA_STATUS_DISABLED:
	default:
		return "DISABLED";
	}
}

static void build_battery_text(char *dst, size_t dst_len)
{
	struct power_status status;
	size_t pos = 0U;

	power_get_status(&status);

	pos = append_text(dst, dst_len, pos, "BAT ");
	if (status.fault) {
		(void)append_text(dst, dst_len, pos, "ERR");
		return;
	}

	if (status.battery_percent_valid) {
		pos = append_u32(dst, dst_len, pos, status.battery_percent);
		pos = append_text(dst, dst_len, pos, "%");
	} else {
		pos = append_text(dst, dst_len, pos, "--%");
	}

	if (status.charging) {
		(void)append_text(dst, dst_len, pos, " CHG");
	} else if (status.vbus_present) {
		(void)append_text(dst, dst_len, pos, " USB");
	}
}

static void build_heart_rate_text(char *dst, size_t dst_len)
{
	struct heart_rate_status status;
	size_t pos = 0U;

	heart_rate_get_status(&status);

	pos = append_text(dst, dst_len, pos, "HR ");
	if (status.bpm_valid) {
		pos = append_u32(dst, dst_len, pos, status.bpm);
		(void)append_text(dst, dst_len, pos, " BPM");
		return;
	}

	switch (status.state) {
	case HEART_RATE_DISABLED:
		(void)append_text(dst, dst_len, pos, "OFF");
		break;
	case HEART_RATE_SEARCHING:
	case HEART_RATE_MEASURING:
		(void)append_text(dst, dst_len, pos, "MEAS");
		break;
	case HEART_RATE_NO_FINGER:
		(void)append_text(dst, dst_len, pos, "NO FINGER");
		break;
	case HEART_RATE_POOR_SIGNAL:
		(void)append_text(dst, dst_len, pos, "POOR SIG");
		break;
	case HEART_RATE_SENSOR_ERROR:
		(void)append_text(dst, dst_len, pos, "ERROR");
		break;
	case HEART_RATE_IDLE:
	case HEART_RATE_READY:
	default:
		(void)append_text(dst, dst_len, pos, "-- BPM");
		break;
	}
}

static void clear_watch_face(void)
{
	const uint16_t black = RGB565(0, 0, 0);
	const uint16_t bg = RGB565(8, 12, 14);
	const uint16_t ring = RGB565(48, 180, 168);

	for (int16_t y = 0; y < UI_HEIGHT; y++) {
		for (int16_t x = 0; x < UI_WIDTH; x++) {
			const int16_t dx = x - UI_CENTER_X;
			const int16_t dy = y - UI_CENTER_Y;
			const int32_t dist_sq = ((int32_t)dx * dx) + ((int32_t)dy * dy);

			if (dist_sq > (UI_RADIUS * UI_RADIUS)) {
				draw_pixel(x, y, black);
			} else if (dist_sq > (UI_RING_RADIUS * UI_RING_RADIUS)) {
				draw_pixel(x, y, ring);
			} else {
				draw_pixel(x, y, bg);
			}
		}
	}
}

static int render_ui(void)
{
	const uint16_t text = RGB565(238, 244, 241);
	const uint16_t muted = RGB565(128, 150, 148);
	const uint16_t panel = RGB565(18, 28, 31);
	const uint16_t accent = RGB565(42, 210, 180);
	char steps_text[11];
	char hr_text[16];
	char battery_text[16];
	struct display_buffer_descriptor desc = {
		.buf_size = sizeof(framebuffer),
		.width = UI_WIDTH,
		.height = UI_HEIGHT,
		.pitch = UI_WIDTH,
		.frame_incomplete = false,
	};
	int err;

	clear_watch_face();

	draw_text(48, 28, "SMART WATCH", 2, muted);
	draw_text(32, 58, "BLE", 2, muted);
	draw_text(78, 58, ble_status_text(), 2, text);

	fill_rect(32, 88, 176, 56, panel);
	draw_text(52, 98, "STEPS", 2, muted);
	(void)append_u32(steps_text, sizeof(steps_text), 0U, activity_get_steps());
	draw_text(84, 118, steps_text, 3, accent);

	build_heart_rate_text(hr_text, sizeof(hr_text));
	draw_text(42, 164, hr_text, 2, text);
	build_battery_text(battery_text, sizeof(battery_text));
	draw_text(42, 190, battery_text, 2, text);

	err = display_write(display, 0, 0, &desc, framebuffer);
	if (err != 0) {
		LOG_ERR("Display write failed (%d)", err);
		return err;
	}

	err = display_blanking_off(display);
	if ((err != 0) && (err != -ENOSYS)) {
		LOG_ERR("Display blanking off failed (%d)", err);
		return err;
	}

	return 0;
}

static void display_work_handler(struct k_work *work)
{
	ARG_UNUSED(work);

	if (!display_ui_ready || !display_ui_awake) {
		return;
	}

	(void)render_ui();
}

K_WORK_DEFINE(display_work, display_work_handler);

int display_ui_init(void)
{
	struct display_capabilities caps;
	int err;

	if (!device_is_ready(display)) {
		LOG_ERR("Display device is not ready");
		return -ENODEV;
	}

	display_get_capabilities(display, &caps);
	if ((caps.x_resolution < UI_WIDTH) || (caps.y_resolution < UI_HEIGHT)) {
		LOG_ERR("Display resolution %ux%u is too small", caps.x_resolution,
			caps.y_resolution);
		return -EINVAL;
	}

	if ((caps.current_pixel_format != PIXEL_FORMAT_RGB_565) &&
	    ((caps.supported_pixel_formats & PIXEL_FORMAT_RGB_565) != 0U)) {
		err = display_set_pixel_format(display, PIXEL_FORMAT_RGB_565);
		if (err != 0) {
			LOG_ERR("Display RGB565 format set failed (%d)", err);
			return err;
		}
	}

	display_ui_ready = true;
	display_ui_awake = true;
	err = render_ui();
	if (err != 0) {
		display_ui_ready = false;
		display_ui_awake = false;
		return err;
	}

	err = backlight_set(true);
	if (err != 0) {
		LOG_WRN("Backlight enable failed (%d)", err);
	}

	LOG_INF("Display UI ready");
	return 0;
}

int display_ui_set_awake(bool awake)
{
	int err;

	if (!display_ui_ready) {
		return -EAGAIN;
	}

	if (awake) {
		display_ui_awake = true;
		err = render_ui();
		if (err != 0) {
			return err;
		}

		err = backlight_set(true);
		if (err != 0) {
			LOG_WRN("Backlight wake failed (%d)", err);
		}

		return err;
	}

	err = backlight_set(false);
	if (err != 0) {
		LOG_WRN("Backlight sleep failed (%d)", err);
	}

	err = display_blanking_on(display);
	if ((err != 0) && (err != -ENOSYS)) {
		LOG_WRN("Display blanking on failed (%d)", err);
		return err;
	}

	display_ui_awake = false;
	return 0;
}

bool display_ui_is_awake(void)
{
	return display_ui_ready && display_ui_awake;
}

void display_ui_request_update(void)
{
	if (!display_ui_ready || !display_ui_awake) {
		return;
	}

	(void)k_work_submit(&display_work);
}
```

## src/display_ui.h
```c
/*
 * SPDX-License-Identifier: Apache-2.0
 */

#ifndef SMARTWATCH_DISPLAY_UI_H_
#define SMARTWATCH_DISPLAY_UI_H_

#include <stdbool.h>

int display_ui_init(void);
int display_ui_set_awake(bool awake);
bool display_ui_is_awake(void);
void display_ui_request_update(void);

#endif /* SMARTWATCH_DISPLAY_UI_H_ */
```
